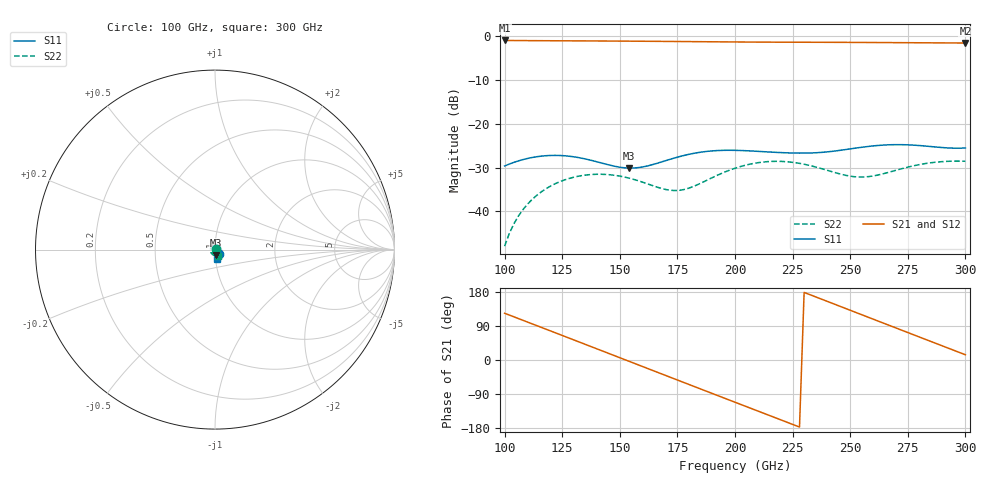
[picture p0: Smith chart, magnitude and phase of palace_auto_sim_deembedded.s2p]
! Created with skrf 1.11.0 (http://scikit-rf.org).
# GHz S DB R 50.0
!freq dBS11 angS11 dBS21 angS21 dBS12 angS12 dBS22 angS22
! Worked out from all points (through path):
!   101 points, 100 GHz to 300 GHz, reference 50 ohm
!   highest |S21| = -0.92 dB at 100 GHz (marker M1); lowest = -1.5 dB at 300 GHz (marker M2)
!   group delay of S21, straight-line fit = 6.52 ps
!   lowest |S11| = -30.1 dB at 154 GHz (marker M3), VSWR 1.06, Z = 50.3 - j3.12 ohm
!   |S11| at or under -10 dB: start of sweep to end of sweep
!   |S22| runs from -48.0 to -28.5 dB; largest |S21 - S12| = 1e-13
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100  -29.62 -51.9  -0.92 123.4  -0.92 123.4  -47.95 19.7
106  -28.45 -57.7  -0.94 109.3  -0.94 109.3  -41.06 22.2
112  -27.68 -64.5  -0.96 95.3  -0.96 95.3  -37.24 13.1
122  -27.20 -76.3  -0.99 71.9  -0.99 71.9  -33.66 -7.7
134  -27.89 -87.6  -1.02 43.7  -1.02 43.7  -31.78 -37.0
144  -29.21 -89.8  -1.05 20.2  -1.05 20.2  -31.56 -64.8
154  -30.10 -82.3  -1.08 -3.4  -1.08 -3.4  -32.39 -97.5
168  -28.71 -70.7  -1.13 -36.3  -1.13 -36.3  -34.74 -160.4
176  -27.46 -71.0  -1.17 -55.2  -1.17 -55.2  -35.18 151.5
184  -26.56 -74.7  -1.20 -74.0  -1.20 -74.0  -33.83 104.1
192  -26.10 -79.5  -1.23 -92.7  -1.23 -92.7  -31.82 65.1
200  -26.04 -83.7  -1.27 -111.4  -1.27 -111.4  -30.13 32.2
218  -26.51 -87.0  -1.31 -153.5  -1.31 -153.5  -28.56 -34.9
226  -26.66 -85.8  -1.33 -172.3  -1.33 -172.3  -28.86 -65.5
234  -26.62 -83.4  -1.34 168.9  -1.34 168.9  -29.71 -98.8
242  -26.28 -80.9  -1.35 150.1  -1.35 150.1  -30.91 -136.4
252  -25.56 -79.9  -1.37 126.6  -1.37 126.6  -32.08 168.3
260  -25.03 -81.4  -1.39 107.7  -1.39 107.7  -31.90 121.1
268  -24.76 -84.1  -1.41 88.9  -1.41 88.9  -30.88 77.9
282  -25.03 -87.4  -1.46 56.0  -1.46 56.0  -29.12 13.5
292  -25.48 -85.3  -1.49 32.6  -1.49 32.6  -28.56 -28.8
300  -25.50 -80.7  -1.51 13.8  -1.51 13.8  -28.54 -63.2
